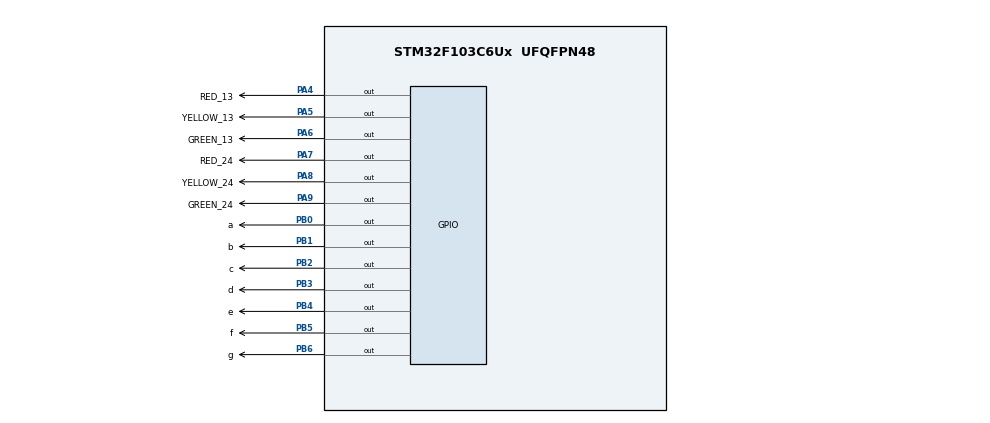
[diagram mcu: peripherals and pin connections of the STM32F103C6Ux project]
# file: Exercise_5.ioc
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Mcu.Family=STM32F1
Mcu.Name=STM32F103C6Ux
Mcu.Package=UFQFPN48
NVIC.PriorityGroup=NVIC_PRIORITYGROUP_4
PA4.GPIO_Label=RED_13
PA4.Signal=GPIO_Output
PA5.GPIO_Label=YELLOW_13
PA5.Signal=GPIO_Output
PA6.GPIO_Label=GREEN_13
PA6.Signal=GPIO_Output
PA7.GPIO_Label=RED_24
PA7.Signal=GPIO_Output
PA8.GPIO_Label=YELLOW_24
PA8.Signal=GPIO_Output
PA9.GPIO_Label=GREEN_24
PA9.Signal=GPIO_Output
PB0.GPIO_Label=a
PB0.Signal=GPIO_Output
PB1.GPIO_Label=b
PB1.Signal=GPIO_Output
PB2.GPIO_Label=c
PB2.Signal=GPIO_Output
PB3.GPIO_Label=d
PB3.Signal=GPIO_Output
PB4.GPIO_Label=e
PB4.Signal=GPIO_Output
PB5.GPIO_Label=f
PB5.Signal=GPIO_Output
PB6.GPIO_Label=g
PB6.Signal=GPIO_Output
ProjectManager.HeapSize=0x200
ProjectManager.StackSize=0x400
ProjectManager.TargetToolchain=STM32CubeIDE
RCC.APB1Freq_Value=8000000
RCC.APB2Freq_Value=8000000
VP_SYS_VS_ND.Mode=No_Debug
board=custom

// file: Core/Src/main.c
/* USER CODE BEGIN Header */
/**
  ******************************************************************************
  * @file           : main.c
  * @brief          : Main program body
  ******************************************************************************
  * @attention
  *
  * <h2><center>&copy; Copyright (c) 2022 STMicroelectronics.
  * All rights reserved.</center></h2>
  *
  * This software component is licensed by ST under BSD 3-Clause license,
  * the "License"; You may not use this file except in compliance with the
  * License. You may obtain a copy of the License at:
  *                        opensource.org/licenses/BSD-3-Clause
  *
  ******************************************************************************
  */
/* USER CODE END Header */
#include "main.h"

void SystemClock_Config(void);
static void MX_GPIO_Init(void);

/* USER CODE BEGIN 0 */
void display7SEG(int num){
	switch(num)
	{
	case 0:
		HAL_GPIO_WritePin(a_GPIO_Port, a_Pin, 0);
		HAL_GPIO_WritePin(b_GPIO_Port, b_Pin, 0);
		HAL_GPIO_WritePin(c_GPIO_Port, c_Pin, 0);
		HAL_GPIO_WritePin(d_GPIO_Port, d_Pin, 0);
		HAL_GPIO_WritePin(e_GPIO_Port, e_Pin, 0);
		HAL_GPIO_WritePin(f_GPIO_Port, f_Pin, 0);
		HAL_GPIO_WritePin(g_GPIO_Port, g_Pin, 1);
		break;
	case 1:
		HAL_GPIO_WritePin(a_GPIO_Port, a_Pin, 1);
		HAL_GPIO_WritePin(b_GPIO_Port, b_Pin, 0);
		HAL_GPIO_WritePin(c_GPIO_Port, c_Pin, 0);
		HAL_GPIO_WritePin(d_GPIO_Port, d_Pin, 1);
		HAL_GPIO_WritePin(e_GPIO_Port, e_Pin, 1);
		HAL_GPIO_WritePin(f_GPIO_Port, f_Pin, 1);
		HAL_GPIO_WritePin(g_GPIO_Port, g_Pin, 1);
		break;
	case 2:
		HAL_GPIO_WritePin(a_GPIO_Port, a_Pin, 0);
		HAL_GPIO_WritePin(b_GPIO_Port, b_Pin, 0);
		HAL_GPIO_WritePin(c_GPIO_Port, c_Pin, 1);
		HAL_GPIO_WritePin(d_GPIO_Port, d_Pin, 0);
		HAL_GPIO_WritePin(e_GPIO_Port, e_Pin, 0);
		HAL_GPIO_WritePin(f_GPIO_Port, f_Pin, 1);
		HAL_GPIO_WritePin(g_GPIO_Port, g_Pin, 0);
		break;
	case 3:
		HAL_GPIO_WritePin(a_GPIO_Port, a_Pin, 0);
		HAL_GPIO_WritePin(b_GPIO_Port, b_Pin, 0);
		HAL_GPIO_WritePin(c_GPIO_Port, c_Pin, 0);
		HAL_GPIO_WritePin(d_GPIO_Port, d_Pin, 0);
		HAL_GPIO_WritePin(e_GPIO_Port, e_Pin, 1);
		HAL_GPIO_WritePin(f_GPIO_Port, f_Pin, 1);
		HAL_GPIO_WritePin(g_GPIO_Port, g_Pin, 0);
		break;
	case 4:
		HAL_GPIO_WritePin(a_GPIO_Port, a_Pin, 1);
		HAL_GPIO_WritePin(b_GPIO_Port, b_Pin, 0);
		HAL_GPIO_WritePin(c_GPIO_Port, c_Pin, 0);
		HAL_GPIO_WritePin(d_GPIO_Port, d_Pin, 1);
		HAL_GPIO_WritePin(e_GPIO_Port, e_Pin, 1);
		HAL_GPIO_WritePin(f_GPIO_Port, f_Pin, 0);
		HAL_GPIO_WritePin(g_GPIO_Port, g_Pin, 0);
		break;
	case 5:
		HAL_GPIO_WritePin(a_GPIO_Port, a_Pin, 0);
		HAL_GPIO_WritePin(b_GPIO_Port, b_Pin, 1);
		HAL_GPIO_WritePin(c_GPIO_Port, c_Pin, 0);
		HAL_GPIO_WritePin(d_GPIO_Port, d_Pin, 0);
		HAL_GPIO_WritePin(e_GPIO_Port, e_Pin, 1);
		HAL_GPIO_WritePin(f_GPIO_Port, f_Pin, 0);
		HAL_GPIO_WritePin(g_GPIO_Port, g_Pin, 0);
		break;
	case 6:
		HAL_GPIO_WritePin(a_GPIO_Port, a_Pin, 0);
		HAL_GPIO_WritePin(b_GPIO_Port, b_Pin, 1);
		HAL_GPIO_WritePin(c_GPIO_Port, c_Pin, 0);
		HAL_GPIO_WritePin(d_GPIO_Port, d_Pin, 0);
		HAL_GPIO_WritePin(e_GPIO_Port, e_Pin, 0);
		HAL_GPIO_WritePin(f_GPIO_Port, f_Pin, 0);
		HAL_GPIO_WritePin(g_GPIO_Port, g_Pin, 0);
		break;
	case 7:
		HAL_GPIO_WritePin(a_GPIO_Port, a_Pin, 0);
		HAL_GPIO_WritePin(b_GPIO_Port, b_Pin, 0);
		HAL_GPIO_WritePin(c_GPIO_Port, c_Pin, 0);
		HAL_GPIO_WritePin(d_GPIO_Port, d_Pin, 1);
		HAL_GPIO_WritePin(e_GPIO_Port, e_Pin, 1);
		HAL_GPIO_WritePin(f_GPIO_Port, f_Pin, 1);
		HAL_GPIO_WritePin(g_GPIO_Port, g_Pin, 1);
		break;
	case 8:
		HAL_GPIO_WritePin(a_GPIO_Port, a_Pin, 0);
		HAL_GPIO_WritePin(b_GPIO_Port, b_Pin, 0);
		HAL_GPIO_WritePin(c_GPIO_Port, c_Pin, 0);
		HAL_GPIO_WritePin(d_GPIO_Port, d_Pin, 0);
		HAL_GPIO_WritePin(e_GPIO_Port, e_Pin, 0);
		HAL_GPIO_WritePin(f_GPIO_Port, f_Pin, 0);
		HAL_GPIO_WritePin(g_GPIO_Port, g_Pin, 0);
		break;
	case 9:
		HAL_GPIO_WritePin(a_GPIO_Port, a_Pin, 0);
		HAL_GPIO_WritePin(b_GPIO_Port, b_Pin, 0);
		HAL_GPIO_WritePin(c_GPIO_Port, c_Pin, 0);
		HAL_GPIO_WritePin(d_GPIO_Port, d_Pin, 0);
		HAL_GPIO_WritePin(e_GPIO_Port, e_Pin, 1);
		HAL_GPIO_WritePin(f_GPIO_Port, f_Pin, 0);
		HAL_GPIO_WritePin(g_GPIO_Port, g_Pin, 0);
		break;
	}
}
/* USER CODE END 0 */

int main(void)
{

  /* MCU Configuration--------------------------------------------------------*/

  /* Reset of all peripherals, Initializes the Flash interface and the Systick. */
  HAL_Init();

  /* Configure the system clock */
  SystemClock_Config();

  /* Initialize all configured peripherals */
  MX_GPIO_Init();

  /* Infinite loop */
  while (1)
  {
	  //5
	  display7SEG(5);
	  HAL_GPIO_WritePin(RED_13_GPIO_Port, RED_13_Pin, 1);
	  HAL_GPIO_WritePin(YELLOW_13_GPIO_Port, YELLOW_13_Pin, 1);
	  HAL_GPIO_WritePin(GREEN_13_GPIO_Port, GREEN_13_Pin, 0);
	  HAL_GPIO_WritePin(RED_24_GPIO_Port, RED_24_Pin, 0);
	  HAL_GPIO_WritePin(YELLOW_24_GPIO_Port, YELLOW_24_Pin, 1);
	  HAL_GPIO_WritePin(GREEN_24_GPIO_Port, GREEN_24_Pin, 1);
	  HAL_Delay(1000);
	  //4
	  display7SEG(4);
	  HAL_GPIO_WritePin(RED_13_GPIO_Port, RED_13_Pin, 1);
	  HAL_GPIO_WritePin(YELLOW_13_GPIO_Port, YELLOW_13_Pin, 1);
	  HAL_GPIO_WritePin(GREEN_13_GPIO_Port, GREEN_13_Pin, 0);
	  HAL_GPIO_WritePin(RED_24_GPIO_Port, RED_24_Pin, 0);
	  HAL_GPIO_WritePin(YELLOW_24_GPIO_Port, YELLOW_24_Pin, 1);
	  HAL_GPIO_WritePin(GREEN_24_GPIO_Port, GREEN_24_Pin, 1);
	  HAL_Delay(1000);
	  //3
	  display7SEG(3);
	  HAL_GPIO_WritePin(RED_13_GPIO_Port, RED_13_Pin, 1);
	  HAL_GPIO_WritePin(YELLOW_13_GPIO_Port, YELLOW_13_Pin, 1);
	  HAL_GPIO_WritePin(GREEN_13_GPIO_Port, GREEN_13_Pin, 0);
	  HAL_GPIO_WritePin(RED_24_GPIO_Port, RED_24_Pin, 0);
	  HAL_GPIO_WritePin(YELLOW_24_GPIO_Port, YELLOW_24_Pin, 1);
	  HAL_GPIO_WritePin(GREEN_24_GPIO_Port, GREEN_24_Pin, 1);
	  HAL_Delay(1000);
	  //2
	  display7SEG(2);
	  HAL_GPIO_WritePin(RED_13_GPIO_Port, RED_13_Pin, 1);
	  HAL_GPIO_WritePin(YELLOW_13_GPIO_Port, YELLOW_13_Pin, 0);
	  HAL_GPIO_WritePin(GREEN_13_GPIO_Port, GREEN_13_Pin, 1);
	  HAL_GPIO_WritePin(RED_24_GPIO_Port, RED_24_Pin, 0);
	  HAL_GPIO_WritePin(YELLOW_24_GPIO_Port, YELLOW_24_Pin, 1);
	  HAL_GPIO_WritePin(GREEN_24_GPIO_Port, GREEN_24_Pin, 1);
	  HAL_Delay(1000);
	  //1
	  display7SEG(1);
	  HAL_GPIO_WritePin(RED_13_GPIO_Port, RED_13_Pin, 1);
	  HAL_GPIO_WritePin(YELLOW_13_GPIO_Port, YELLOW_13_Pin, 0);
	  HAL_GPIO_WritePin(GREEN_13_GPIO_Port, GREEN_13_Pin, 1);
	  HAL_GPIO_WritePin(RED_24_GPIO_Port, RED_24_Pin, 0);
	  HAL_GPIO_WritePin(YELLOW_24_GPIO_Port, YELLOW_24_Pin, 1);
	  HAL_GPIO_WritePin(GREEN_24_GPIO_Port, GREEN_24_Pin, 1);
	  HAL_Delay(1000);

	  //5
	  display7SEG(5);
	  HAL_GPIO_WritePin(RED_13_GPIO_Port, RED_13_Pin, 0);
	  HAL_GPIO_WritePin(YELLOW_13_GPIO_Port, YELLOW_13_Pin, 1);
	  HAL_GPIO_WritePin(GREEN_13_GPIO_Port, GREEN_13_Pin, 1);
	  HAL_GPIO_WritePin(RED_24_GPIO_Port, RED_24_Pin, 1);
	  HAL_GPIO_WritePin(YELLOW_24_GPIO_Port, YELLOW_24_Pin, 1);
	  HAL_GPIO_WritePin(GREEN_24_GPIO_Port, GREEN_24_Pin, 0);
	  HAL_Delay(1000);

	  //4
	  display7SEG(4);
	  HAL_GPIO_WritePin(RED_13_GPIO_Port, RED_13_Pin, 0);
	  HAL_GPIO_WritePin(YELLOW_13_GPIO_Port, YELLOW_13_Pin, 1);
	  HAL_GPIO_WritePin(GREEN_13_GPIO_Port, GREEN_13_Pin, 1);
	  HAL_GPIO_WritePin(RED_24_GPIO_Port, RED_24_Pin, 1);
	  HAL_GPIO_WritePin(YELLOW_24_GPIO_Port, YELLOW_24_Pin, 1);
	  HAL_GPIO_WritePin(GREEN_24_GPIO_Port, GREEN_24_Pin, 0);
	  HAL_Delay(1000);

	  //3
	  display7SEG(3);
	  HAL_GPIO_WritePin(RED_13_GPIO_Port, RED_13_Pin, 0);
	  HAL_GPIO_WritePin(YELLOW_13_GPIO_Port, YELLOW_13_Pin, 1);
	  HAL_GPIO_WritePin(GREEN_13_GPIO_Port, GREEN_13_Pin, 1);
	  HAL_GPIO_WritePin(RED_24_GPIO_Port, RED_24_Pin, 1);
	  HAL_GPIO_WritePin(YELLOW_24_GPIO_Port, YELLOW_24_Pin, 1);
	  HAL_GPIO_WritePin(GREEN_24_GPIO_Port, GREEN_24_Pin, 0);
	  HAL_Delay(1000);

	  //2
	  display7SEG(2);
	  HAL_GPIO_WritePin(RED_13_GPIO_Port, RED_13_Pin, 0);
	  HAL_GPIO_WritePin(YELLOW_13_GPIO_Port, YELLOW_13_Pin, 1);
	  HAL_GPIO_WritePin(GREEN_13_GPIO_Port, GREEN_13_Pin, 1);
	  HAL_GPIO_WritePin(RED_24_GPIO_Port, RED_24_Pin, 1);
	  HAL_GPIO_WritePin(YELLOW_24_GPIO_Port, YELLOW_24_Pin, 0);
	  HAL_GPIO_WritePin(GREEN_24_GPIO_Port, GREEN_24_Pin, 1);
	  HAL_Delay(1000);

	  //1
	  display7SEG(1);
	  HAL_GPIO_WritePin(RED_13_GPIO_Port, RED_13_Pin, 0);
	  HAL_GPIO_WritePin(YELLOW_13_GPIO_Port, YELLOW_13_Pin, 1);
	  HAL_GPIO_WritePin(GREEN_13_GPIO_Port, GREEN_13_Pin, 1);
	  HAL_GPIO_WritePin(RED_24_GPIO_Port, RED_24_Pin, 1);
	  HAL_GPIO_WritePin(YELLOW_24_GPIO_Port, YELLOW_24_Pin, 0);
	  HAL_GPIO_WritePin(GREEN_24_GPIO_Port, GREEN_24_Pin, 1);
	  HAL_Delay(1000);
  }
}

void SystemClock_Config(void)
{
  RCC_OscInitTypeDef RCC_OscInitStruct = {0};
  RCC_ClkInitTypeDef RCC_ClkInitStruct = {0};

  /** Initializes the RCC Oscillators according to the specified parameters
  * in the RCC_OscInitTypeDef structure.
  */
  RCC_OscInitStruct.OscillatorType = RCC_OSCILLATORTYPE_HSI;
  RCC_OscInitStruct.HSIState = RCC_HSI_ON;
  RCC_OscInitStruct.HSICalibrationValue = RCC_HSICALIBRATION_DEFAULT;
  RCC_OscInitStruct.PLL.PLLState = RCC_PLL_NONE;
  if (HAL_RCC_OscConfig(&RCC_OscInitStruct) != HAL_OK)
  {
    Error_Handler();
  }
  /** Initializes the CPU, AHB and APB buses clocks
  */
  RCC_ClkInitStruct.ClockType = RCC_CLOCKTYPE_HCLK|RCC_CLOCKTYPE_SYSCLK
                              |RCC_CLOCKTYPE_PCLK1|RCC_CLOCKTYPE_PCLK2;
  RCC_ClkInitStruct.SYSCLKSource = RCC_SYSCLKSOURCE_HSI;
  RCC_ClkInitStruct.AHBCLKDivider = RCC_SYSCLK_DIV1;
  RCC_ClkInitStruct.APB1CLKDivider = RCC_HCLK_DIV1;
  RCC_ClkInitStruct.APB2CLKDivider = RCC_HCLK_DIV1;

  if (HAL_RCC_ClockConfig(&RCC_ClkInitStruct, FLASH_LATENCY_0) != HAL_OK)
  {
    Error_Handler();
  }
}

static void MX_GPIO_Init(void)
{
  GPIO_InitTypeDef GPIO_InitStruct = {0};

  /* GPIO Ports Clock Enable */
  __HAL_RCC_GPIOA_CLK_ENABLE();
  __HAL_RCC_GPIOB_CLK_ENABLE();

  /*Configure GPIO pin Output Level */
  HAL_GPIO_WritePin(GPIOA, RED_13_Pin|YELLOW_13_Pin|GREEN_13_Pin|RED_24_Pin
                          |YELLOW_24_Pin|GREEN_24_Pin, GPIO_PIN_RESET);

  /*Configure GPIO pin Output Level */
  HAL_GPIO_WritePin(GPIOB, a_Pin|b_Pin|c_Pin|d_Pin
                          |e_Pin|f_Pin|g_Pin, GPIO_PIN_RESET);

  /*Configure GPIO pins : RED_13_Pin YELLOW_13_Pin GREEN_13_Pin RED_24_Pin
                           YELLOW_24_Pin GREEN_24_Pin */
  GPIO_InitStruct.Pin = RED_13_Pin|YELLOW_13_Pin|GREEN_13_Pin|RED_24_Pin
                          |YELLOW_24_Pin|GREEN_24_Pin;
  GPIO_InitStruct.Mode = GPIO_MODE_OUTPUT_PP;
  GPIO_InitStruct.Pull = GPIO_NOPULL;
  GPIO_InitStruct.Speed = GPIO_SPEED_FREQ_LOW;
  HAL_GPIO_Init(GPIOA, &GPIO_InitStruct);

  /*Configure GPIO pins : a_Pin b_Pin c_Pin d_Pin
                           e_Pin f_Pin g_Pin */
  GPIO_InitStruct.Pin = a_Pin|b_Pin|c_Pin|d_Pin
                          |e_Pin|f_Pin|g_Pin;
  GPIO_InitStruct.Mode = GPIO_MODE_OUTPUT_PP;
  GPIO_InitStruct.Pull = GPIO_NOPULL;
  GPIO_InitStruct.Speed = GPIO_SPEED_FREQ_LOW;
  HAL_GPIO_Init(GPIOB, &GPIO_InitStruct);

}

void Error_Handler(void)
{
  __disable_irq();
  while (1)
  {
  }
}

/************************ (C) COPYRIGHT STMicroelectronics *****END OF FILE****/
